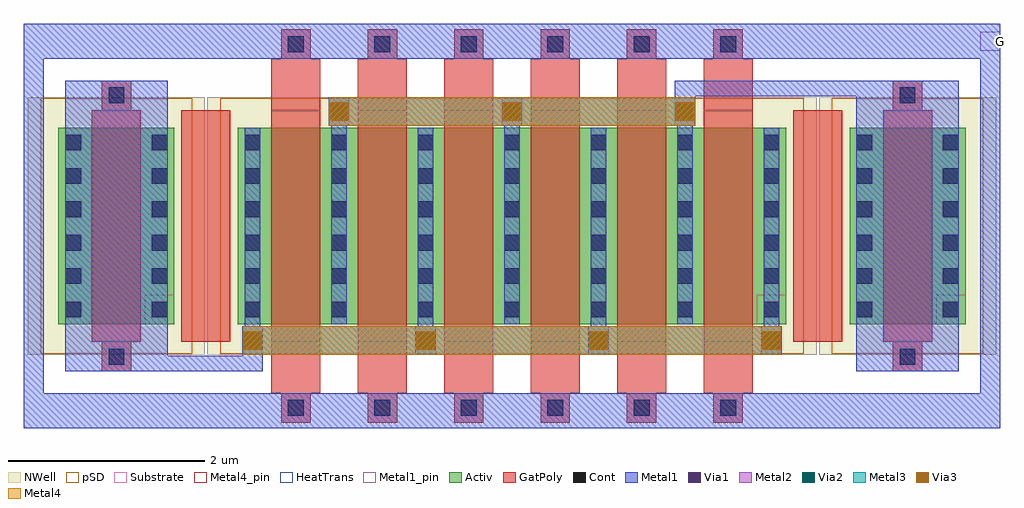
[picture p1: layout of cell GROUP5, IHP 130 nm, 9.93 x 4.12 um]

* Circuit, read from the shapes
.subckt GROUP5 G
XM1 pmos_priv1_0/D pmos_priv1_0/D pmos_priv1_0/D n1 sg13_lv_pmos w=2u l=0.5u
XM2 pmos_priv1_0/S G pmos_priv1_0/D n2 sg13_lv_pmos w=2u l=0.5u m=6
XM3 pmos_priv1_0/S pmos_priv1_0/S pmos_priv1_0/S n3 sg13_lv_pmos w=2u l=0.5u
.ends

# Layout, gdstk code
import gdstk
lib = gdstk.Library(unit=1e-6, precision=1e-09)
def R(c, l, rs):  # rectangles x0, y0, x1, y1
    for r in rs: c.add(gdstk.rectangle(r[:2], r[2:], *l))
def A(c, l, x, y, w, h, nx, ny, dx, dy):  # array of equal rectangles
    R(c, l, [(x+i*dx, y+j*dy, x+i*dx+w, y+j*dy+h) for i in range(nx) for j in range(ny)])
Activ = (1, 0)
GatPoly = (5, 0)
Cont = (6, 0)
Metal1 = (8, 0)
Metal1_pin = (8, 2)
Metal2 = (10, 0)
pSD = (14, 0)
Via1 = (19, 0)
Via2 = (29, 0)
Metal3 = (30, 0)
NWell = (31, 0)
Substrate = (40, 0)
Via3 = (49, 0)
Metal4 = (50, 0)
Metal4_pin = (50, 2)
HeatTrans = (51, 0)

pmos_priv1 = lib.new_cell('pmos_priv1')
A(pmos_priv1, Activ, 0, 0, 0.3, 0.3, 7, 1, 0.88, 0)
R(pmos_priv1, Activ, [(0,0,5.58,2)])
A(pmos_priv1, GatPoly, 0.44, -1, 0.3, 0.3, 6, 2, 0.88, 3.7)
A(pmos_priv1, GatPoly, 0.34, -0.7, 0.5, 0.52, 6, 2, 0.88, 2.88)
A(pmos_priv1, GatPoly, 0.34, -0.18, 0.5, 2.36, 6, 1, 0.88, 0)
R(pmos_priv1, GatPoly, [(0.34,-0.18,0.84,2.18)])
A(pmos_priv1, Cont, 0.51, -0.93, 0.16, 0.16, 6, 2, 0.88, 3.7)
A(pmos_priv1, Cont, 0.07, 0.07, 0.16, 0.16, 7, 6, 0.88, 0.34)
A(pmos_priv1, Metal1, 0.455, -1.06, 0.27, 0.36, 6, 2, 0.88, 3.76)
A(pmos_priv1, Metal1, 0.045, -0.31, 0.21, 0.29, 4, 1, 1.76, 0)
A(pmos_priv1, Metal1, 0.07, -0.035, 0.16, 0.05, 4, 1, 1.76, 0)
A(pmos_priv1, Metal1, 0.95, 0, 0.16, 2, 6, 1, 0.88, 0)
A(pmos_priv1, Metal1, 0.95, 1.985, 0.16, 0.05, 3, 1, 1.76, 0)
A(pmos_priv1, Metal1, 0.925, 2.02, 0.21, 0.29, 3, 1, 1.76, 0)
R(pmos_priv1, Metal1, [(0.07,0,0.23,2), (0.07,0,0.23,2), (0.95,0,1.11,2)])
A(pmos_priv1, Metal2, 0.05, -0.31, 0.2, 0.29, 4, 1, 1.76, 0)
A(pmos_priv1, Metal2, 0.93, 2.02, 0.2, 0.29, 3, 1, 1.76, 0)
R(pmos_priv1, Metal2, [(0.05,-0.31,5.53,-0.02), (0.93,2.02,4.65,2.31)])
R(pmos_priv1, pSD, [(-0.18,-0.3,5.76,2.3)])
A(pmos_priv1, Via1, 0.055, -0.26, 0.19, 0.19, 4, 1, 1.76, 0)
A(pmos_priv1, Via1, 0.935, 2.07, 0.19, 0.19, 3, 1, 1.76, 0)
A(pmos_priv1, Via2, 0.055, -0.26, 0.19, 0.19, 4, 1, 1.76, 0)
A(pmos_priv1, Via2, 0.935, 2.07, 0.19, 0.19, 3, 1, 1.76, 0)
A(pmos_priv1, Metal3, 0.05, -0.31, 0.2, 0.29, 4, 1, 1.76, 0)
A(pmos_priv1, Metal3, 0.93, 2.02, 0.2, 0.29, 3, 1, 1.76, 0)
R(pmos_priv1, Metal3, [(0.05,-0.31,5.53,-0.02), (0.93,2.02,4.65,2.31)])
R(pmos_priv1, NWell, [(-0.31,-0.31,5.89,2.31)])
R(pmos_priv1, Substrate, [(5.28,0,5.58,0.3)])
A(pmos_priv1, Via3, 0.055, -0.26, 0.19, 0.19, 4, 1, 1.76, 0)
A(pmos_priv1, Via3, 0.935, 2.07, 0.19, 0.19, 3, 1, 1.76, 0)
A(pmos_priv1, Metal4, 0.05, -0.31, 0.2, 0.29, 4, 1, 1.76, 0)
A(pmos_priv1, Metal4, 0.93, 2.02, 0.2, 0.29, 3, 1, 1.76, 0)
R(pmos_priv1, Metal4, [(0.05,-0.31,5.53,-0.02), (0.93,2.02,4.65,2.31)])
R(pmos_priv1, Metal4_pin, [(5.335,-0.26,5.525,-0.07), (4.455,2.07,4.645,2.26)])
A(pmos_priv1, HeatTrans, 0.34, -0.18, 0.5, 2.36, 6, 1, 0.88, 0)
pmos_priv1.add(gdstk.Label('pmos', (0.59,1), layer=63, texttype=0))
pmos_priv1.add(gdstk.Label('pmos', (0.59,1), layer=51, texttype=0))
pmos_priv1.add(gdstk.Label('pmos', (1.47,1), layer=51, texttype=0))
pmos_priv1.add(gdstk.Label('pmos', (2.35,1), layer=51, texttype=0))
pmos_priv1.add(gdstk.Label('pmos', (3.23,1), layer=51, texttype=0))
pmos_priv1.add(gdstk.Label('pmos', (4.11,1), layer=51, texttype=0))
pmos_priv1.add(gdstk.Label('pmos', (4.99,1), layer=51, texttype=0))
pmos_priv1.add(gdstk.Label('S', (4.55,2.165), layer=50, texttype=0))
pmos_priv1.add(gdstk.Label('D', (5.43,-0.165), layer=50, texttype=0))

pmos_2_priv1 = lib.new_cell('pmos$2_priv1')
R(pmos_2_priv1, Activ, [(0,0,0.3,0.3), (0,0,1.18,2), (0.88,0,1.18,0.3)])
R(pmos_2_priv1, GatPoly, [(0.44,-0.48,0.74,-0.18), (0.34,-0.18,0.84,2.18), (0.34,-0.18,0.84,2.18), (0.44,2.18,0.74,2.48)])
A(pmos_2_priv1, Cont, 0.07, 0.07, 0.16, 0.16, 1, 6, 0, 0.34)
A(pmos_2_priv1, Cont, 0.95, 0.07, 0.16, 0.16, 1, 6, 0, 0.34)
R(pmos_2_priv1, Cont, [(0.51,-0.41,0.67,-0.25), (0.51,2.25,0.67,2.41)])
R(pmos_2_priv1, Metal1, [(0.07,-0.48,1.11,2.48), (0.07,0,0.23,2), (0.07,0,0.23,2), (0.95,0,1.11,2), (0.95,0,1.11,2)])
R(pmos_2_priv1, pSD, [(-0.18,-0.3,1.36,2.3)])
R(pmos_2_priv1, NWell, [(-0.31,-0.31,1.49,2.31)])
R(pmos_2_priv1, Substrate, [(0.88,0,1.18,0.3)])
R(pmos_2_priv1, HeatTrans, [(0.34,-0.18,0.84,2.18)])
pmos_2_priv1.add(gdstk.Label('pmos', (0.59,1), layer=63, texttype=0))
pmos_2_priv1.add(gdstk.Label('pmos', (0.59,1), layer=51, texttype=0))

pmos_2_priv2 = lib.new_cell('pmos$2_priv2')
R(pmos_2_priv2, Activ, [(0,0,0.3,0.3), (0,0,1.18,2), (0.88,0,1.18,0.3)])
R(pmos_2_priv2, GatPoly, [(0.44,-0.48,0.74,-0.18), (0.34,-0.18,0.84,2.18), (0.34,-0.18,0.84,2.18), (0.44,2.18,0.74,2.48)])
A(pmos_2_priv2, Cont, 0.07, 0.07, 0.16, 0.16, 1, 6, 0, 0.34)
A(pmos_2_priv2, Cont, 0.95, 0.07, 0.16, 0.16, 1, 6, 0, 0.34)
R(pmos_2_priv2, Cont, [(0.51,-0.41,0.67,-0.25), (0.51,2.25,0.67,2.41)])
R(pmos_2_priv2, Metal1, [(0.07,-0.48,1.11,2.48), (0.07,0,0.23,2), (0.07,0,0.23,2), (0.95,0,1.11,2), (0.95,0,1.11,2)])
R(pmos_2_priv2, pSD, [(-0.18,-0.3,1.36,2.3)])
R(pmos_2_priv2, NWell, [(-0.31,-0.31,1.49,2.31)])
R(pmos_2_priv2, Substrate, [(0.88,0,1.18,0.3)])
R(pmos_2_priv2, HeatTrans, [(0.34,-0.18,0.84,2.18)])
pmos_2_priv2.add(gdstk.Label('pmos', (0.59,1), layer=63, texttype=0))
pmos_2_priv2.add(gdstk.Label('pmos', (0.59,1), layer=51, texttype=0))

group5 = lib.new_cell('GROUP5')
R(group5, GatPoly, [(199.555,-103.51,200.055,-101.15), (205.78,-103.51,206.28,-101.15)])
R(group5, Metal1, [(197.955,-104.39,207.885,-104.03), (197.955,-104.39,198.155,-100.27), (207.685,-104.39,207.885,-100.27), (199.415,-103.81,200.385,-103.65), (200.175,-103.65,200.385,-103.35), (204.575,-101.31,204.785,-101.01), (204.575,-101.01,206.425,-100.85), (197.955,-100.63,207.885,-100.27)])
R(group5, Metal1_pin, [(207.685,-100.545,207.885,-100.355)])
group5.add(gdstk.Reference(pmos_priv1, (200.13,-103.33)))
group5.add(gdstk.Reference(pmos_2_priv1, (206.355,-103.33)))
group5.add(gdstk.Reference(pmos_2_priv2, (198.305,-103.33)))
group5.add(gdstk.Label('G', (207.885,-100.45), layer=8, texttype=0))

lib.write_gds('GROUP5.gds')
